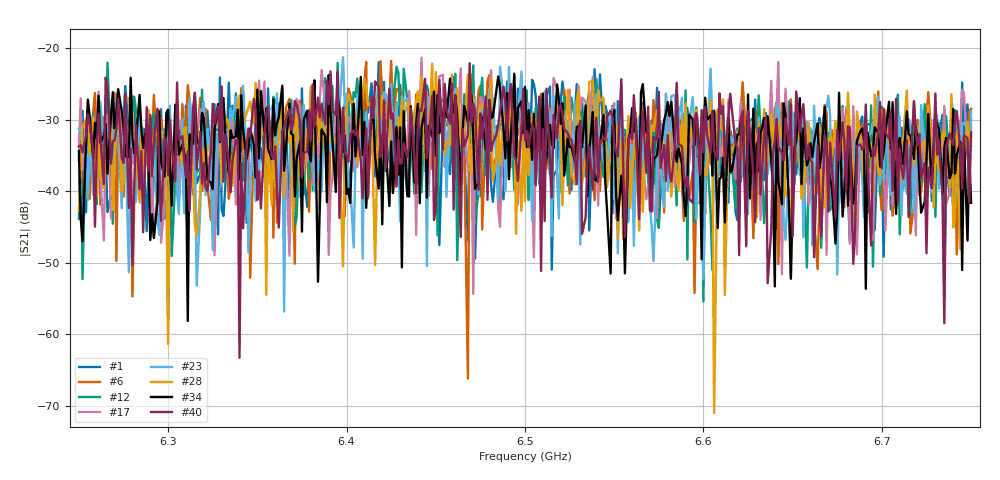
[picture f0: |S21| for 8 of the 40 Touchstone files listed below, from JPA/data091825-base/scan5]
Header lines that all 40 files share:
# Hz S RI R 50
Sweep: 6.25 GHz to 6.75 GHz
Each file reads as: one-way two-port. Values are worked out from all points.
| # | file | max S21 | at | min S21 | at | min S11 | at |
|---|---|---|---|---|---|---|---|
| 1 | trace40.s2p | -21.99 dB | 6.418 GHz | -55.3 dB | 6.735 GHz | -3.7 dB | 6.65 GHz |
| 2 | trace41.s2p | -19.96 dB | 6.376 GHz | -60.6 dB | 6.329 GHz | -3.2 dB | 6.62 GHz |
| 3 | trace42.s2p | -22.61 dB | 6.431 GHz | -57.2 dB | 6.62 GHz | -3.7 dB | 6.64 GHz |
| 4 | trace43.s2p | -23.38 dB | 6.52 GHz | -60.0 dB | 6.689 GHz | -3.4 dB | 6.631 GHz |
| 5 | trace44.s2p | -22.76 dB | 6.466 GHz | -57.6 dB | 6.6 GHz | -3.4 dB | 6.621 GHz |
| 6 | trace45.s2p | -21.81 dB | 6.425 GHz | -66.2 dB | 6.468 GHz | -3.1 dB | 6.63 GHz |
| 7 | trace46.s2p | -22.63 dB | 6.431 GHz | -51.1 dB | 6.545 GHz | -3.5 dB | 6.628 GHz |
| 8 | trace47.s2p | -21.26 dB | 6.464 GHz | -61.0 dB | 6.529 GHz | -3.5 dB | 6.631 GHz |
| 9 | trace48.s2p | -22.20 dB | 6.466 GHz | -58.0 dB | 6.405 GHz | -3.1 dB | 6.654 GHz |
| 10 | trace49.s2p | -22.71 dB | 6.598 GHz | -52.9 dB | 6.45 GHz | -3.5 dB | 6.675 GHz |
| 11 | trace50.s2p | -21.23 dB | 6.454 GHz | -61.8 dB | 6.651 GHz | -3.2 dB | 6.654 GHz |
| 12 | trace51.s2p | -22.06 dB | 6.266 GHz | -58.3 dB | 6.3 GHz | -3.2 dB | 6.644 GHz |
| 13 | trace52.s2p | -22.71 dB | 6.4 GHz | -55.2 dB | 6.685 GHz | -3.2 dB | 6.634 GHz |
| 14 | trace53.s2p | -19.28 dB | 6.429 GHz | -60.0 dB | 6.27 GHz | -3.3 dB | 6.64 GHz |
| 15 | trace54.s2p | -21.82 dB | 6.435 GHz | -64.8 dB | 6.736 GHz | -3.2 dB | 6.684 GHz |
| 16 | trace55.s2p | -21.61 dB | 6.465 GHz | -64.6 dB | 6.695 GHz | -3.3 dB | 6.62 GHz |
| 17 | trace56.s2p | -21.35 dB | 6.442 GHz | -54.4 dB | 6.471 GHz | -3.4 dB | 6.655 GHz |
| 18 | trace57.s2p | -22.94 dB | 6.475 GHz | -70.7 dB | 6.728 GHz | -3.2 dB | 6.631 GHz |
| 19 | trace58.s2p | -23.14 dB | 6.472 GHz | -61.1 dB | 6.434 GHz | -3.5 dB | 6.619 GHz |
| 20 | trace59.s2p | -23.48 dB | 6.451 GHz | -51.5 dB | 6.58 GHz | -3.7 dB | 6.615 GHz |
| 21 | trace60.s2p | -22.72 dB | 6.458 GHz | -53.5 dB | 6.459 GHz | -4.4 dB | 6.688 GHz |
| 22 | trace61.s2p | -22.09 dB | 6.415 GHz | -61.2 dB | 6.308 GHz | -3.3 dB | 6.682 GHz |
| 23 | trace62.s2p | -21.29 dB | 6.398 GHz | -56.8 dB | 6.365 GHz | -3.3 dB | 6.678 GHz |
| 24 | trace63.s2p | -23.27 dB | 6.622 GHz | -66.3 dB | 6.705 GHz | -3.4 dB | 6.656 GHz |
| 25 | trace64.s2p | -22.84 dB | 6.448 GHz | -70.3 dB | 6.654 GHz | -3.3 dB | 6.642 GHz |
| 26 | trace65.s2p | -21.01 dB | 6.425 GHz | -52.9 dB | 6.576 GHz | -3.6 dB | 6.688 GHz |
| 27 | trace66.s2p | -24.02 dB | 6.458 GHz | -62.5 dB | 6.59 GHz | -3.3 dB | 6.668 GHz |
| 28 | trace67.s2p | -22.19 dB | 6.448 GHz | -71.0 dB | 6.606 GHz | -3.4 dB | 6.642 GHz |
| 29 | trace68.s2p | -22.13 dB | 6.422 GHz | -63.1 dB | 6.622 GHz | -3.3 dB | 6.675 GHz |
| 30 | trace69.s2p | -21.96 dB | 6.445 GHz | -62.9 dB | 6.528 GHz | -4.0 dB | 6.69 GHz |
| 31 | trace70.s2p | -21.53 dB | 6.412 GHz | -58.5 dB | 6.666 GHz | -4.5 dB | 6.734 GHz |
| 32 | trace71.s2p | -22.15 dB | 6.456 GHz | -55.7 dB | 6.378 GHz | -3.2 dB | 6.626 GHz |
| 33 | trace72.s2p | -23.38 dB | 6.47 GHz | -55.0 dB | 6.66 GHz | -3.5 dB | 6.635 GHz |
| 34 | trace73.s2p | -23.59 dB | 6.494 GHz | -58.2 dB | 6.311 GHz | -3.2 dB | 6.668 GHz |
| 35 | trace74.s2p | -22.06 dB | 6.388 GHz | -56.4 dB | 6.409 GHz | -3.5 dB | 6.651 GHz |
| 36 | trace75.s2p | -20.78 dB | 6.461 GHz | -55.0 dB | 6.514 GHz | -3.6 dB | 6.642 GHz |
| 37 | trace76.s2p | -22.45 dB | 6.455 GHz | -59.9 dB | 6.54 GHz | -3.3 dB | 6.662 GHz |
| 38 | trace77.s2p | -21.69 dB | 6.468 GHz | -63.6 dB | 6.502 GHz | -3.5 dB | 6.634 GHz |
| 39 | trace78.s2p | -22.86 dB | 6.465 GHz | -53.6 dB | 6.42 GHz | -3.3 dB | 6.67 GHz |
| 40 | trace79.s2p | -22.12 dB | 6.469 GHz | -63.3 dB | 6.34 GHz | -3.3 dB | 6.648 GHz |
